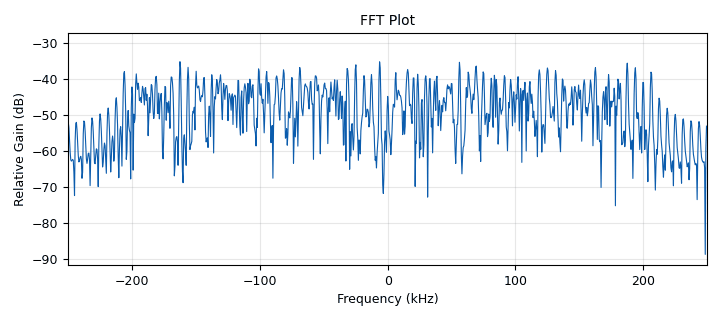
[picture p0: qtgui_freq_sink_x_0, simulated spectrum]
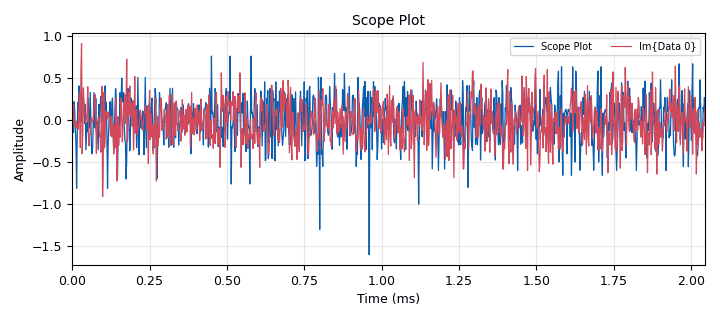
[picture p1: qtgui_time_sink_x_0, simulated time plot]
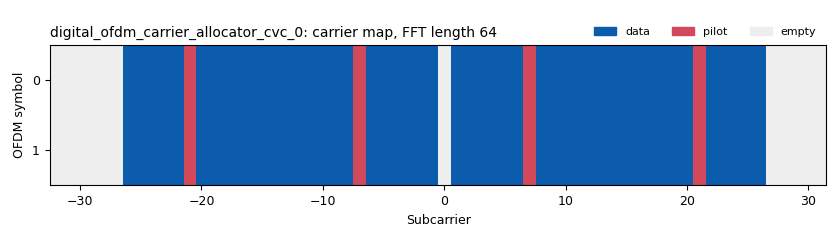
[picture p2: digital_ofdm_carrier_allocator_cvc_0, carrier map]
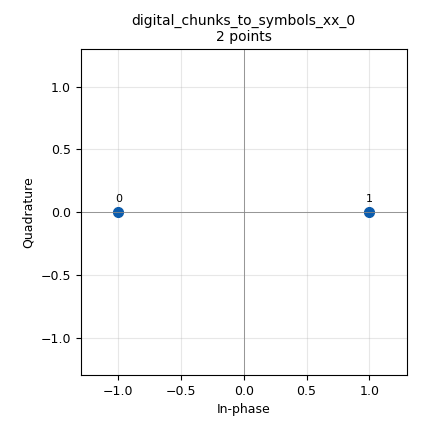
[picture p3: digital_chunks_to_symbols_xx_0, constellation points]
options:
  parameters:
    category: Custom
    description: Example of an OFDM Transmitter
    generate_options: qt_gui
    id: tx_ofdm
    output_language: python
    run_options: run
    title: OFDM Tx
  states: {}

blocks:
- name: cp_len
  id: variable
  parameters:
    value: '16'
  states: {}
- name: fft_len
  id: variable
  parameters:
    value: '64'
  states: {}
- name: freq
  id: variable
  parameters:
    value: 5800e6
  states: {}
- name: hdr_format
  id: variable
  parameters:
    value: digital.header_format_ofdm(occupied_carriers, 1, length_tag_key,)
  states: {}
- name: header_mod
  id: variable
  parameters:
    value: digital.constellation_bpsk()
  states: {}
- name: length_tag_key
  id: variable
  parameters:
    value: '"packet_len"'
  states: {}
- name: occupied_carriers
  id: variable
  parameters:
    value: (list(range(-26, -21)) + list(range(-20, -7) )+ list(range(-6, 0)) +list( range(1, 7)) + list(range(8, 21)) + list(range(22, 27)),)
  states: {}
- name: packet_len
  id: variable
  parameters:
    value: '64'
  states: {}
- name: payload_mod
  id: variable
  parameters:
    value: digital.constellation_bpsk()
  states: {}
- name: pilot_carriers
  id: variable
  parameters:
    value: ((-21, -7, 7, 21,),)
  states: {}
- name: pilot_symbols
  id: variable
  parameters:
    value: ((1, 1, 1, -1,),)
  states: {}
- name: rolloff
  id: variable
  parameters:
    value: '0'
  states: {}
- name: samp_rate
  id: variable
  parameters:
    value: int(0.5e6)
  states: {}
- name: sync_word1
  id: variable
  parameters:
    value: '[0., 0., 0., 0., 0., 0., 0., 1.41421356, 0., -1.41421356, 0., 1.41421356, 0., -1.41421356, 0., -1.41421356, 0., -1.41421356, 0., 1.41421356, 0., -1.41421356, 0., 1.41421356, 0., -1.41421356, 0., -1.41421356, 0., -1.41421356, 0., -1.41421356, 0., 1.41421356, 0., -1.41421356, 0., 1.41421356, 0., 1.41421356, 0., 1.41421356, 0., -1.41421356, 0., 1.41421356, 0., 1.41421356, 0., 1.41421356, 0., -1.41421356, 0., 1.41421356, 0., 1.41421356, 0., 1.41421356, 0., 0., 0., 0., 0., 0.]'
  states: {}
- name: sync_word2
  id: variable
  parameters:
    value: '[0, 0, 0, 0, 0, 0, -1, -1, -1, -1, 1, 1, -1, -1, -1, 1, -1, 1, 1, 1, 1, 1, -1, -1, -1, -1, -1, 1, -1, -1, 1, -1, 0, 1, -1, 1, 1, 1, -1, 1, 1, 1, -1, 1, 1, 1, 1, -1, 1, -1, -1, -1, 1, -1, 1, -1, -1, -1, -1, 0, 0, 0, 0, 0] '
  states: {}
- name: blocks_file_source_0
  id: blocks_file_source
  parameters:
    file: pygame.png
    repeat: 'False'
    type: byte
  states: {state: disabled}
- name: blocks_multiply_const_vxx_0
  id: blocks_multiply_const_vxx
  parameters:
    const: '0.05'
    type: complex
  states: {}
- name: blocks_repack_bits_bb_0
  id: blocks_repack_bits_bb
  parameters:
    endianness: gr.GR_LSB_FIRST
    k: '8'
    l: payload_mod.bits_per_symbol()
    len_tag_key: length_tag_key
  states: {}
- name: blocks_repack_bits_bb_0_0
  id: blocks_repack_bits_bb
  parameters:
    endianness: gr.GR_LSB_FIRST
    k: '8'
    l: '1'
    len_tag_key: length_tag_key
  states: {}
- name: blocks_stream_to_tagged_stream_0
  id: blocks_stream_to_tagged_stream
  parameters:
    len_tag_key: length_tag_key
    packet_len: packet_len
    type: byte
  states: {}
- name: blocks_stream_to_vector_0
  id: blocks_stream_to_vector
  parameters:
    num_items: '1'
    type: complex
    vlen: fft_len
  states: {state: disabled}
- name: blocks_tag_gate_0
  id: blocks_tag_gate
  parameters:
    propagate_tags: 'False'
    type: complex
  states: {}
- name: blocks_tagged_stream_mux_0
  id: blocks_tagged_stream_mux
  parameters:
    lengthtagname: length_tag_key
    ninputs: '2'
    type: complex
  states: {}
- name: blocks_throttle_0
  id: blocks_throttle
  parameters:
    samples_per_second: samp_rate
    type: complex
  states: {}
- name: blocks_vector_source_x_0
  id: blocks_vector_source_x
  parameters:
    repeat: 'True'
    tags: ()
    type: byte
    vector: range(packet_len)
  states: {}
- name: blocks_vector_to_stream_0
  id: blocks_vector_to_stream
  parameters:
    num_items: '1'
    type: complex
    vlen: fft_len
  states: {state: disabled}
- name: digital_chunks_to_symbols_xx_0
  id: digital_chunks_to_symbols_xx
  parameters:
    dimension: '1'
    in_type: byte
    out_type: complex
    symbol_table: header_mod.points()
  states: {}
- name: digital_chunks_to_symbols_xx_0_0
  id: digital_chunks_to_symbols_xx
  parameters:
    dimension: '1'
    in_type: byte
    out_type: complex
    symbol_table: payload_mod.points()
  states: {}
- name: digital_crc32_bb_0
  id: digital_crc32_bb
  parameters:
    check: 'False'
    lengthtagname: length_tag_key
    packed: 'True'
  states: {}
- name: digital_ofdm_carrier_allocator_cvc_0
  id: digital_ofdm_carrier_allocator_cvc
  parameters:
    fft_len: fft_len
    len_tag_key: length_tag_key
    occupied_carriers: occupied_carriers
    output_is_shifted: 'True'
    pilot_carriers: pilot_carriers
    pilot_symbols: pilot_symbols
    sync_words: (sync_word1, sync_word2)
  states: {}
- name: digital_ofdm_cyclic_prefixer_0
  id: digital_ofdm_cyclic_prefixer
  parameters:
    cp_len: cp_len
    input_size: fft_len
    rolloff: rolloff
    tagname: length_tag_key
  states: {}
- name: digital_protocol_formatter_bb_0
  id: digital_protocol_formatter_bb
  parameters:
    format: hdr_format
    len_tag_key: length_tag_key
  states: {}
- name: fft_vxx_0
  id: fft_vxx
  parameters:
    fft_size: fft_len
    forward: 'False'
    shift: 'True'
    type: complex
    window: ()
  states: {}
- name: header_bits
  id: virtual_sink
  parameters:
    stream_id: Header Bits
  states: {}
- name: qtgui_freq_sink_x_0
  id: qtgui_freq_sink_x
  parameters:
    autoscale: 'True'
    bw: samp_rate
    fc: '0'
    fftsize: '1024'
    name: FFT Plot
    showports: 'True'
    type: complex
    wintype: firdes.WIN_BLACKMAN_hARRIS
  states: {}
- name: qtgui_time_sink_x_0
  id: qtgui_time_sink_x
  parameters:
    autoscale: 'True'
    label1: Scope Plot
    label2: ''
    name: Scope Plot
    size: '1024'
    srate: samp_rate
    type: complex
  states: {}
- name: uhd_usrp_sink_0
  id: uhd_usrp_sink
  parameters:
    ant0: TX/RX
    center_freq0: freq
    clock_rate: '0.0'
    dev_addr: addr=172.30.1.112
    dev_args: '""'
    gain0: '65'
    len_tag_name: ''
    norm_gain0: 'False'
    samp_rate: samp_rate
    sync: none
    type: fc32
  states: {}
- name: virtual_sink_0
  id: virtual_sink
  parameters:
    stream_id: Time Domain
  states: {}
- name: virtual_sink_0_0
  id: virtual_sink
  parameters:
    stream_id: Payload Bits
  states: {}
- name: virtual_sink_0_0_0
  id: virtual_sink
  parameters:
    stream_id: Pre-OFDM
  states: {}
- name: virtual_sink_1
  id: virtual_sink
  parameters:
    stream_id: Tx Signal
  states: {}
- name: virtual_source_0
  id: virtual_source
  parameters:
    stream_id: Header Bits
  states: {}
- name: virtual_source_0_0
  id: virtual_source
  parameters:
    stream_id: Payload Bits
  states: {}
- name: virtual_source_0_0_0
  id: virtual_source
  parameters:
    stream_id: Pre-OFDM
  states: {}
- name: virtual_source_0_0_0_0
  id: virtual_source
  parameters:
    stream_id: Time Domain
  states: {}
- name: virtual_source_1
  id: virtual_source
  parameters:
    stream_id: Tx Signal
  states: {}

connections:
- [blocks_file_source_0, '0', blocks_stream_to_tagged_stream_0, '0']
- [blocks_multiply_const_vxx_0, '0', blocks_tag_gate_0, '0']
- [blocks_repack_bits_bb_0, '0', virtual_sink_0_0, '0']
- [blocks_repack_bits_bb_0_0, '0', header_bits, '0']
- [blocks_stream_to_tagged_stream_0, '0', digital_crc32_bb_0, '0']
- [blocks_tag_gate_0, '0', blocks_throttle_0, '0']
- [blocks_tagged_stream_mux_0, '0', virtual_sink_0_0_0, '0']
- [blocks_throttle_0, '0', qtgui_freq_sink_x_0, '0']
- [blocks_throttle_0, '0', qtgui_time_sink_x_0, '0']
- [blocks_throttle_0, '0', virtual_sink_1, '0']
- [blocks_vector_source_x_0, '0', blocks_stream_to_tagged_stream_0, '0']
- [digital_chunks_to_symbols_xx_0, '0', blocks_tagged_stream_mux_0, '0']
- [digital_chunks_to_symbols_xx_0_0, '0', blocks_tagged_stream_mux_0, '1']
- [digital_crc32_bb_0, '0', blocks_repack_bits_bb_0, '0']
- [digital_crc32_bb_0, '0', digital_protocol_formatter_bb_0, '0']
- [digital_ofdm_carrier_allocator_cvc_0, '0', fft_vxx_0, '0']
- [digital_ofdm_cyclic_prefixer_0, '0', virtual_sink_0, '0']
- [digital_protocol_formatter_bb_0, '0', blocks_repack_bits_bb_0_0, '0']
- [fft_vxx_0, '0', digital_ofdm_cyclic_prefixer_0, '0']
- [virtual_source_0, '0', digital_chunks_to_symbols_xx_0, '0']
- [virtual_source_0_0, '0', digital_chunks_to_symbols_xx_0_0, '0']
- [virtual_source_0_0_0, '0', digital_ofdm_carrier_allocator_cvc_0, '0']
- [virtual_source_0_0_0_0, '0', blocks_multiply_const_vxx_0, '0']
- [virtual_source_1, '0', uhd_usrp_sink_0, '0']

metadata:
  file_format: 1
